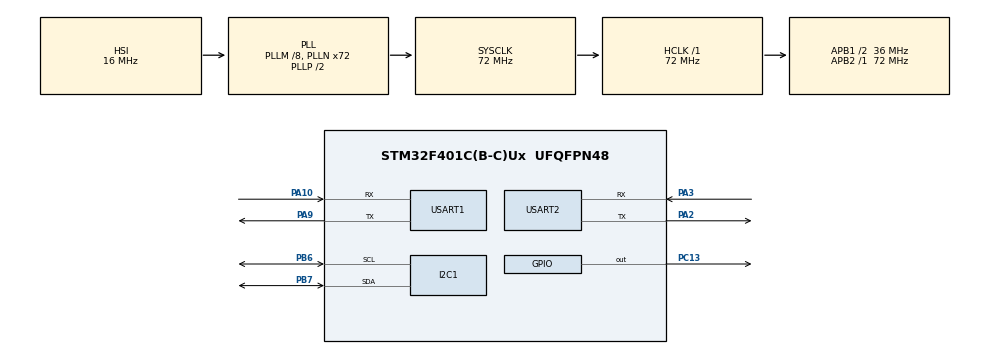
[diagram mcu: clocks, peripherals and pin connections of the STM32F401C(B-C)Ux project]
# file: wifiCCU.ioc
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I2C1.Speed=100000
Mcu.Family=STM32F4
Mcu.Name=STM32F401C(B-C)Ux
Mcu.Package=UFQFPN48
NVIC.PriorityGroup=NVIC_PRIORITYGROUP_4
PA0-WKUP.Mode=SYS_WakeUp0
PA0-WKUP.Signal=SYS_WKUP
PA10.Mode=Asynchronous
PA10.Signal=USART1_RX
PA13.Mode=Serial_Wire
PA13.Signal=SYS_JTMS-SWDIO
PA14.Mode=Serial_Wire
PA14.Signal=SYS_JTCK-SWCLK
PA2.Mode=Asynchronous
PA2.Signal=USART2_TX
PA3.Mode=Asynchronous
PA3.Signal=USART2_RX
PA9.Mode=Asynchronous
PA9.Signal=USART1_TX
PB6.Mode=I2C
PB6.Signal=I2C1_SCL
PB7.Mode=I2C
PB7.Signal=I2C1_SDA
PC13-ANTI_TAMP.Signal=GPIO_Output
PH0\ -\ OSC_IN.Mode=HSE-External-Oscillator
PH0\ -\ OSC_IN.Signal=RCC_OSC_IN
PH1\ -\ OSC_OUT.Mode=HSE-External-Oscillator
PH1\ -\ OSC_OUT.Signal=RCC_OSC_OUT
ProjectManager.HeapSize=0x200
ProjectManager.StackSize=0x400
ProjectManager.TargetToolchain=STM32CubeIDE
RCC.48MHZClocksFreq_Value=36000000
RCC.AHBFreq_Value=72000000
RCC.APB1CLKDivider=RCC_HCLK_DIV2
RCC.APB1Freq_Value=36000000
RCC.APB1TimFreq_Value=72000000
RCC.APB2Freq_Value=72000000
RCC.APB2TimFreq_Value=72000000
RCC.CortexFreq_Value=72000000
RCC.HCLKFreq_Value=72000000
RCC.HSE_VALUE=25000000
RCC.HSI_VALUE=16000000
RCC.LSE_VALUE=32768
RCC.PLLM=8
RCC.PLLN=72
RCC.SYSCLKFreq_VALUE=72000000
RCC.SYSCLKSource=RCC_SYSCLKSOURCE_PLLCLK
RCC.VCOOutputFreq_Value=144000000
USART1.VirtualMode=VM_ASYNC
USART2.VirtualMode=VM_ASYNC
board=custom

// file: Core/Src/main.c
/* USER CODE BEGIN Header */
/**
  ******************************************************************************
  * @file           : main.c
  * @brief          : Main program body
  ******************************************************************************
  * @attention
  *
  * Copyright (c) 2025 STMicroelectronics.
  * All rights reserved.
  *
  * This software is licensed under terms that can be found in the LICENSE file
  * in the root directory of this software component.
  * If no LICENSE file comes with this software, it is provided AS-IS.
  *
  ******************************************************************************
  */
/* USER CODE END Header */
#include "main.h"

/* USER CODE BEGIN Includes */
#include "string.h"
#include "stdio.h"
/* USER CODE END Includes */

I2C_HandleTypeDef hi2c1;

UART_HandleTypeDef huart1;
UART_HandleTypeDef huart2;

void SystemClock_Config(void);
static void MX_GPIO_Init(void);
static void MX_USART1_UART_Init(void);
static void MX_USART2_UART_Init(void);
static void MX_I2C1_Init(void);

int main(void)
{

  /* MCU Configuration--------------------------------------------------------*/

  /* Reset of all peripherals, Initializes the Flash interface and the Systick. */
  HAL_Init();

  /* USER CODE BEGIN Init */
  void send_AT_command(const char *cmd, uint32_t delay_ms) {
      HAL_UART_Transmit(&huart1, (uint8_t *)cmd, strlen(cmd), HAL_MAX_DELAY);
      HAL_Delay(delay_ms);
  }

  void send_and_receive(const char *cmd, uint32_t delay_ms) {
      uint8_t buffer[512] = {0};

      printf("Sending: %s", cmd);
      HAL_UART_Transmit(&huart1, (uint8_t *)cmd, strlen(cmd), HAL_MAX_DELAY);
      HAL_Delay(delay_ms);

      HAL_StatusTypeDef status = HAL_UART_Receive(&huart1, buffer, sizeof(buffer)-1, 2000);
      if(status == HAL_OK) {
          printf("Response: %s\r\n", buffer);
      } else {
          printf("No response (timeout)\r\n");
      }
  }

  void ESP01_ConnectWiFi(const char *ssid, const char *password) {
      printf("Resetting ESP-01...\r\n");
      send_and_receive("AT+RST\r\n", 3000);        // Reset ESP
      HAL_Delay(2000);                             // Wait for boot

      printf("Setting station mode...\r\n");
      send_and_receive("AT+CWMODE=1\r\n", 1000);   // Set mode: Station (client)

      char wifiCommand[128];
      snprintf(wifiCommand, sizeof(wifiCommand),
               "AT+CWJAP=\"%s\",\"%s\"\r\n", ssid, password);

      printf("Connecting to WiFi: %s\r\n", ssid);
      send_and_receive(wifiCommand, 15000);         // Connect to Wi-Fi network (increased timeout)
      printf("WiFi connection attempt completed\r\n");
  }
  void send_AT(const char *cmd, uint32_t delay_ms) {
      HAL_UART_Transmit(&huart1, (uint8_t *)cmd, strlen(cmd), HAL_MAX_DELAY);
      HAL_Delay(delay_ms);
  }

  void send_data(uint8_t *data, uint16_t len) {
      HAL_UART_Transmit(&huart1, data, len, HAL_MAX_DELAY);
      HAL_Delay(500); // small delay after sending data
  }

  void ESP01_ConnectMQTTBroker(const char *broker, uint16_t port) {
      char cmd[128];
      snprintf(cmd, sizeof(cmd),
               "AT+CIPSTART=\"TCP\",\"%s\",%d\r\n", broker, port);
      printf("Connecting to MQTT broker: %s:%d\r\n", broker, port);
      send_and_receive(cmd, 10000);  // Increased timeout for TCP connection

      // Verify connection status
      printf("Checking TCP connection status...\r\n");
      send_and_receive("AT+CIPSTATUS\r\n", 2000);
  }

  void ESP01_CheckConnection(void) {
      printf("Checking ESP-01 and TCP connection...\r\n");
      send_and_receive("AT\r\n", 1000);           // Basic AT test
      send_and_receive("AT+CIPSTATUS\r\n", 2000); // TCP connection status
  }

  void ESP01_Send_MQTT_CONNECT(const char *clientID) {
      uint8_t packet[128];
      uint8_t clientID_len = strlen(clientID);
      uint8_t total_len = 10 + 2 + clientID_len;

      uint8_t index = 0;
      packet[index++] = 0x10;                      // CONNECT command
      packet[index++] = total_len;                 // Remaining length
      packet[index++] = 0x00; packet[index++] = 0x04; // Length of "MQTT"
      packet[index++] = 'M'; packet[index++] = 'Q';
      packet[index++] = 'T'; packet[index++] = 'T';
      packet[index++] = 0x04;                      // Protocol level 4
      packet[index++] = 0x02;                      // Clean session
      packet[index++] = 0x00; packet[index++] = 0x3C; // Keep alive = 60 sec
      packet[index++] = 0x00; packet[index++] = clientID_len;
      memcpy(&packet[index], clientID, clientID_len);
      index += clientID_len;

      printf("Sending MQTT CONNECT packet (%d bytes)...\r\n", index);

      // Send CIPSEND and wait for ">" prompt
      char sendCmd[32];
      snprintf(sendCmd, sizeof(sendCmd), "AT+CIPSEND=%d\r\n", index);
      send_and_receive(sendCmd, 2000);  // Wait for ">" prompt

      HAL_Delay(100);  // Small delay before sending data

      // Send the actual packet and wait for response
      printf("Sending MQTT CONNECT data...\r\n");
      HAL_UART_Transmit(&huart1, packet, index, HAL_MAX_DELAY);

      // Wait for CONNACK response
      uint8_t response[64] = {0};
      HAL_StatusTypeDef status = HAL_UART_Receive(&huart1, response, sizeof(response)-1, 5000);
      if(status == HAL_OK) {
          printf("MQTT CONNECT Response: %s\r\n", response);
      } else {
          printf("No MQTT CONNECT response\r\n");
      }
  }
  void ESP01_Send_MQTT_PUBLISH(const char *topic, const char *message) {
      uint8_t packet[256];
      uint8_t topic_len = strlen(topic);
      uint8_t message_len = strlen(message);

      uint8_t remaining_len = 2 + topic_len + message_len;
      uint8_t index = 0;

      packet[index++] = 0x30;                       // PUBLISH command
      packet[index++] = remaining_len;              // Remaining length
      packet[index++] = 0x00;
      packet[index++] = topic_len;
      memcpy(&packet[index], topic, topic_len);
      index += topic_len;
      memcpy(&packet[index], message, message_len);
      index += message_len;

      // Send CIPSEND first
      char sendCmd[32];
      snprintf(sendCmd, sizeof(sendCmd),
               "AT+CIPSEND=%d\r\n", index);
      send_AT(sendCmd, 1000);

      // Send packet data
      send_data(packet, index);
  }

  /* USER CODE END Init */

  /* Configure the system clock */
  SystemClock_Config();

  /* Initialize all configured peripherals */
  MX_GPIO_Init();
  MX_USART1_UART_Init();
  MX_USART2_UART_Init();
  MX_I2C1_Init();
  /* USER CODE BEGIN 2 */
  printf("\r\n=== STM32F401CCU6 ESP-01 MQTT Client ===\r\n");
  printf("System Clock: %lu Hz\r\n", SystemCoreClock);
  printf("Initializing ESP-01 WiFi connection...\r\n");

  // Blink LED to indicate system start
  for(int i = 0; i < 3; i++) {
      HAL_GPIO_WritePin(GPIOC, GPIO_PIN_13, GPIO_PIN_RESET); // LED ON
      HAL_Delay(200);
      HAL_GPIO_WritePin(GPIOC, GPIO_PIN_13, GPIO_PIN_SET);   // LED OFF
      HAL_Delay(200);
  }

  HAL_Delay(2000);
  ESP01_ConnectWiFi("MyTether", "asdfghjkl");
  ESP01_ConnectMQTTBroker("test.mosquitto.org", 1883);

  HAL_Delay(2000);

  ESP01_Send_MQTT_CONNECT("STM32Client");
  HAL_Delay(2000);

  // Test with short message first
  printf("Testing with short message...\r\n");
  ESP01_Send_MQTT_PUBLISH("test", "STM32_OK");
  HAL_Delay(1000);

  printf("Starting MQTT publishing loop...\r\n");
  /* USER CODE END 2 */

  /* Infinite loop */
  /* USER CODE BEGIN WHILE */
  uint32_t message_count = 0;
  while (1)
  {
    /* USER CODE END WHILE */
    // Toggle LED to indicate activity
    HAL_GPIO_TogglePin(GPIOC, GPIO_PIN_13);

    // Check connection every 10 messages
    if(message_count % 10 == 0) {
        ESP01_CheckConnection();
    }

    // Send device status every 20 messages (every ~100 seconds)
    if(message_count % 20 == 0) {
        char status_msg[64];
        int avg_temp = 25 + (message_count / 10) % 8;  // Average temperature trend
        snprintf(status_msg, sizeof(status_msg),
                 "status=online,uptime=%lu,avgT=%d,msgs=%lu",
                 HAL_GetTick()/1000, avg_temp, message_count);
        printf("Publishing status: %s\r\n", status_msg);
        ESP01_Send_MQTT_PUBLISH("telemetry/stm32/status", status_msg);
        HAL_Delay(1000); // Small delay between status and data
    }

    char temp_message[64];
    // Generate more varied and comprehensive sensor data with realistic patterns
    int soil_temp = 22 + (message_count % 12) + (message_count / 10) % 3;    // 22-36°C with slow drift
    int air_temp = 24 + (message_count % 10) + (message_count / 15) % 4;     // 24-37°C
    int soil_humidity = 45 + (message_count % 25) + (message_count / 5) % 10; // 45-79% with variation
    int air_humidity = 40 + (message_count % 30) + (message_count / 8) % 8;   // 40-77%
    int pressure = 780 + (message_count % 60) + (message_count / 20) % 15;    // 780-854 realistic pressure range
    int water_level = 8 + (message_count % 35) + (message_count / 12) % 5;    // 8-47cm varying water level

    snprintf(temp_message, sizeof(temp_message),
             "st=%d,at=%d,sh=%d,ah=%d,p=%d,wl=%d,c=%lu",
             soil_temp, air_temp, soil_humidity, air_humidity, pressure, water_level, message_count);

    printf("Publishing message %lu: %s\r\n", message_count, temp_message);
    ESP01_Send_MQTT_PUBLISH("telemetry/stm32/data", temp_message);

    message_count++;
    HAL_Delay(5000); // Send every 5 seconds
  }
}

void SystemClock_Config(void)
{
  RCC_OscInitTypeDef RCC_OscInitStruct = {0};
  RCC_ClkInitTypeDef RCC_ClkInitStruct = {0};

  /** Configure the main internal regulator output voltage
  */
  __HAL_RCC_PWR_CLK_ENABLE();
  __HAL_PWR_VOLTAGESCALING_CONFIG(PWR_REGULATOR_VOLTAGE_SCALE2);

  /** Initializes the RCC Oscillators according to the specified parameters
  * in the RCC_OscInitTypeDef structure.
  */
  RCC_OscInitStruct.OscillatorType = RCC_OSCILLATORTYPE_HSI;
  RCC_OscInitStruct.HSIState = RCC_HSI_ON;
  RCC_OscInitStruct.HSICalibrationValue = RCC_HSICALIBRATION_DEFAULT;
  RCC_OscInitStruct.PLL.PLLState = RCC_PLL_ON;
  RCC_OscInitStruct.PLL.PLLSource = RCC_PLLSOURCE_HSI;
  RCC_OscInitStruct.PLL.PLLM = 8;
  RCC_OscInitStruct.PLL.PLLN = 72;
  RCC_OscInitStruct.PLL.PLLP = RCC_PLLP_DIV2;
  RCC_OscInitStruct.PLL.PLLQ = 4;
  if (HAL_RCC_OscConfig(&RCC_OscInitStruct) != HAL_OK)
  {
    Error_Handler();
  }

  /** Initializes the CPU, AHB and APB buses clocks
  */
  RCC_ClkInitStruct.ClockType = RCC_CLOCKTYPE_HCLK|RCC_CLOCKTYPE_SYSCLK
                              |RCC_CLOCKTYPE_PCLK1|RCC_CLOCKTYPE_PCLK2;
  RCC_ClkInitStruct.SYSCLKSource = RCC_SYSCLKSOURCE_PLLCLK;
  RCC_ClkInitStruct.AHBCLKDivider = RCC_SYSCLK_DIV1;
  RCC_ClkInitStruct.APB1CLKDivider = RCC_HCLK_DIV2;
  RCC_ClkInitStruct.APB2CLKDivider = RCC_HCLK_DIV1;

  if (HAL_RCC_ClockConfig(&RCC_ClkInitStruct, FLASH_LATENCY_2) != HAL_OK)
  {
    Error_Handler();
  }
}

static void MX_I2C1_Init(void)
{

  hi2c1.Instance = I2C1;
  hi2c1.Init.ClockSpeed = 100000;
  hi2c1.Init.DutyCycle = I2C_DUTYCYCLE_2;
  hi2c1.Init.OwnAddress1 = 0;
  hi2c1.Init.AddressingMode = I2C_ADDRESSINGMODE_7BIT;
  hi2c1.Init.DualAddressMode = I2C_DUALADDRESS_DISABLE;
  hi2c1.Init.OwnAddress2 = 0;
  hi2c1.Init.GeneralCallMode = I2C_GENERALCALL_DISABLE;
  hi2c1.Init.NoStretchMode = I2C_NOSTRETCH_DISABLE;
  if (HAL_I2C_Init(&hi2c1) != HAL_OK)
  {
    Error_Handler();
  }

}

static void MX_USART1_UART_Init(void)
{

  huart1.Instance = USART1;
  huart1.Init.BaudRate = 115200;
  huart1.Init.WordLength = UART_WORDLENGTH_8B;
  huart1.Init.StopBits = UART_STOPBITS_1;
  huart1.Init.Parity = UART_PARITY_NONE;
  huart1.Init.Mode = UART_MODE_TX_RX;
  huart1.Init.HwFlowCtl = UART_HWCONTROL_NONE;
  huart1.Init.OverSampling = UART_OVERSAMPLING_16;
  if (HAL_UART_Init(&huart1) != HAL_OK)
  {
    Error_Handler();
  }

}

static void MX_USART2_UART_Init(void)
{

  huart2.Instance = USART2;
  huart2.Init.BaudRate = 115200;
  huart2.Init.WordLength = UART_WORDLENGTH_8B;
  huart2.Init.StopBits = UART_STOPBITS_1;
  huart2.Init.Parity = UART_PARITY_NONE;
  huart2.Init.Mode = UART_MODE_TX_RX;
  huart2.Init.HwFlowCtl = UART_HWCONTROL_NONE;
  huart2.Init.OverSampling = UART_OVERSAMPLING_16;
  if (HAL_UART_Init(&huart2) != HAL_OK)
  {
    Error_Handler();
  }

}

static void MX_GPIO_Init(void)
{
  GPIO_InitTypeDef GPIO_InitStruct = {0};

  /* GPIO Ports Clock Enable */
  __HAL_RCC_GPIOC_CLK_ENABLE();
  __HAL_RCC_GPIOH_CLK_ENABLE();
  __HAL_RCC_GPIOA_CLK_ENABLE();
  __HAL_RCC_GPIOB_CLK_ENABLE();

  /*Configure GPIO pin Output Level */
  HAL_GPIO_WritePin(GPIOC, GPIO_PIN_13, GPIO_PIN_RESET);

  /*Configure GPIO pin : PC13 */
  GPIO_InitStruct.Pin = GPIO_PIN_13;
  GPIO_InitStruct.Mode = GPIO_MODE_OUTPUT_PP;
  GPIO_InitStruct.Pull = GPIO_NOPULL;
  GPIO_InitStruct.Speed = GPIO_SPEED_FREQ_LOW;
  HAL_GPIO_Init(GPIOC, &GPIO_InitStruct);

}

/* USER CODE BEGIN 4 */

// Printf redirection to USART2
int __io_putchar(int ch)
{
    HAL_UART_Transmit(&huart2, (uint8_t *)&ch, 1, HAL_MAX_DELAY);
    return ch;
}

/* USER CODE END 4 */

void Error_Handler(void)
{
  __disable_irq();
  while (1)
  {
  }
}
